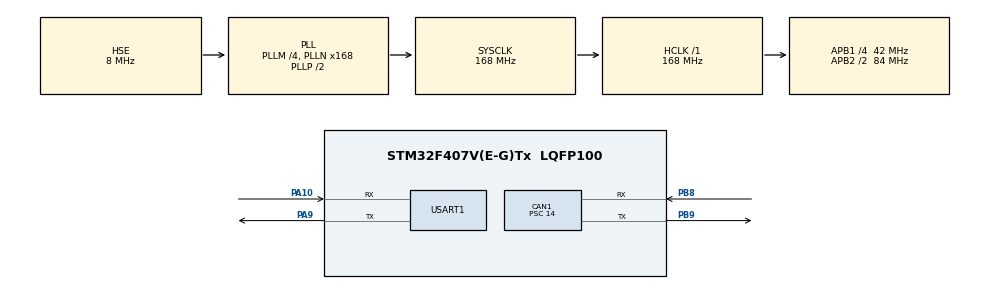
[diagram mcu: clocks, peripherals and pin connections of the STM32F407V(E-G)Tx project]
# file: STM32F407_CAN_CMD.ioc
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CAN1.ABOM=ENABLE
CAN1.BS1=CAN_BS1_4TQ
CAN1.CalculateTimeQuantum=333.33333333333337
CAN1.Prescaler=14
Dma.MEMTOMEM.0.Direction=DMA_MEMORY_TO_MEMORY
Dma.MEMTOMEM.0.FIFOMode=DMA_FIFOMODE_ENABLE
Dma.MEMTOMEM.0.FIFOThreshold=DMA_FIFO_THRESHOLD_FULL
Dma.MEMTOMEM.0.Instance=DMA2_Stream1
Dma.MEMTOMEM.0.MemBurst=DMA_MBURST_SINGLE
Dma.MEMTOMEM.0.MemDataAlignment=DMA_MDATAALIGN_BYTE
Dma.MEMTOMEM.0.MemInc=DMA_MINC_ENABLE
Dma.MEMTOMEM.0.Mode=DMA_NORMAL
Dma.MEMTOMEM.0.PeriphBurst=DMA_PBURST_SINGLE
Dma.MEMTOMEM.0.PeriphDataAlignment=DMA_PDATAALIGN_BYTE
Dma.MEMTOMEM.0.PeriphInc=DMA_PINC_ENABLE
Dma.MEMTOMEM.0.Priority=DMA_PRIORITY_LOW
Dma.Request0=MEMTOMEM
Mcu.Family=STM32F4
Mcu.Name=STM32F407V(E-G)Tx
Mcu.Package=LQFP100
NVIC.CAN1_RX0_IRQn=true\:0\:0\:false\:false\:true\:true\:true\:true
NVIC.PriorityGroup=NVIC_PRIORITYGROUP_4
NVIC.USART1_IRQn=true\:0\:0\:false\:false\:true\:true\:true\:true
PA10.Mode=Asynchronous
PA10.Signal=USART1_RX
PA9.Mode=Asynchronous
PA9.Signal=USART1_TX
PB8.Mode=Master
PB8.Signal=CAN1_RX
PB9.Mode=Master
PB9.Signal=CAN1_TX
PC14-OSC32_IN.Mode=LSE-External-Oscillator
PC14-OSC32_IN.Signal=RCC_OSC32_IN
PC15-OSC32_OUT.Mode=LSE-External-Oscillator
PC15-OSC32_OUT.Signal=RCC_OSC32_OUT
PH0-OSC_IN.Mode=HSE-External-Oscillator
PH0-OSC_IN.Signal=RCC_OSC_IN
PH1-OSC_OUT.Mode=HSE-External-Oscillator
PH1-OSC_OUT.Signal=RCC_OSC_OUT
ProjectManager.HeapSize=0x200
ProjectManager.StackSize=0x800
ProjectManager.TargetToolchain=MDK-ARM V5
RCC.48MHZClocksFreq_Value=84000000
RCC.AHBFreq_Value=168000000
RCC.APB1CLKDivider=RCC_HCLK_DIV4
RCC.APB1Freq_Value=42000000
RCC.APB1TimFreq_Value=84000000
RCC.APB2CLKDivider=RCC_HCLK_DIV2
RCC.APB2Freq_Value=84000000
RCC.APB2TimFreq_Value=168000000
RCC.CortexFreq_Value=168000000
RCC.HCLKFreq_Value=168000000
RCC.HSE_VALUE=8000000
RCC.HSI_VALUE=16000000
RCC.PLLM=4
RCC.PLLN=168
RCC.PLLSourceVirtual=RCC_PLLSOURCE_HSE
RCC.SYSCLKFreq_VALUE=168000000
RCC.SYSCLKSource=RCC_SYSCLKSOURCE_PLLCLK
RCC.VCOOutputFreq_Value=336000000
USART1.VirtualMode=VM_ASYNC
board=custom

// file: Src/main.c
/* USER CODE BEGIN Header */
/**
  ******************************************************************************
  * @file           : main.c
  * @brief          : Main program body - Velocity Control Mode
  ******************************************************************************
  */
/* USER CODE END Header */

#include "main.h"
#include "can.h"
#include "dma.h"
#include "usart.h"
#include "gpio.h"

/* USER CODE BEGIN Includes */

#include "Emm_V5.h"
#include <stdlib.h>  // 用于 atoi
#include <string.h>  // 用于 strcpy, strchr
#include <math.h>    // 用于 abs

/* USER CODE END Includes */

/* USER CODE BEGIN PV */

// ================== 串口接收与解析隔离区 ==================
#define RX_BUF_SIZE 32
char rx_buffer[RX_BUF_SIZE];
char process_buffer[RX_BUF_SIZE];
uint8_t rx_index = 0;
uint8_t rx_byte;
volatile uint8_t rx_complete = 0;

// ================== 视觉坐标与标志位 ==================
uint16_t target_x = 0;
uint16_t target_y = 0;
uint8_t  target_valid = 0;

// 【新增】：看门狗超时相关变量
uint32_t last_rx_time = 0;      // 记录最后一次收到有效坐标的时间
uint8_t  motors_stopped = 1;    // 标记电机是否已经处于停止状态（防重复下发0指令）

// ================== 闭环云台追踪控制参数 (速度环模式) ==================
#define CENTER_X 160
#define CENTER_Y 112
#define DEADZONE 15

float Kp_vel_x = 0.2f;
float Kp_vel_y = 0.1f;

#define MAX_RPM 150
#define ACCEL   15

// ================== 控制频率(节流阀) ==================
#define CONTROL_INTERVAL_MS 10
uint32_t last_control_time = 0;

/* USER CODE END PV */

void SystemClock_Config(void);

int main(void)
{
  /* MCU Configuration--------------------------------------------------------*/
  HAL_Init();
  SystemClock_Config();
  MX_GPIO_Init();
  MX_DMA_Init();
  MX_CAN1_Init();
  MX_USART1_UART_Init();

  /* USER CODE BEGIN 2 */
  USER_CAN1_Filter_Init();
  if(HAL_CAN_Start(&hcan1) != HAL_OK) { Error_Handler(); }
  if(HAL_CAN_ActivateNotification(&hcan1, CAN_IT_RX_FIFO0_MSG_PENDING) != HAL_OK) { Error_Handler(); }

  // 开启单字节串口中断接收
  HAL_UART_Receive_IT(&huart1, &rx_byte, 1);

  // 延时等待驱动器完全启动
  HAL_Delay(500);

  /* USER CODE END 2 */

  /* Infinite loop */
 /* USER CODE BEGIN WHILE */
  while (1)
  {
      // ================== 1. 安全解析坐标 & 喂狗 ==================
      if (rx_complete == 1)
      {
          rx_complete = 0;

          if (process_buffer[0] == 'X')
          {
              char *y_ptr = strchr(process_buffer, 'Y');
              if (y_ptr != NULL)
              {
                  *y_ptr = '\0';

                  target_x = atoi(&process_buffer[1]);
                  target_y = atoi(y_ptr + 1);

                  target_valid = 1;
                  last_rx_time = HAL_GetTick(); // 【新增】：收到坐标，重置看门狗时间
                  motors_stopped = 0;           // 【新增】：解除停止锁定
              }
          }
      }

      uint32_t current_time = HAL_GetTick();

      // ================== 2. 正常追踪控制 ==================
      if ((current_time - last_control_time >= CONTROL_INTERVAL_MS) && (target_valid == 1))
      {
          last_control_time = current_time;
          target_valid = 0;

          int16_t error_x = target_x - CENTER_X;
          int16_t error_y = target_y - CENTER_Y;

			// ================== X轴计算 (1号电机) 左右旋转 ==================
          uint16_t rpm_x = 0;
          uint8_t dir_x = 0;
          if (abs(error_x) > DEADZONE) {
              rpm_x = (uint16_t)(abs(error_x) * Kp_vel_x);
              if (rpm_x > MAX_RPM) rpm_x = MAX_RPM;
              // 既然之前 X 方向是对的，就保持原样
              dir_x = (error_x > 0) ? 1 : 0;
          }

          // ================== Y轴计算 (2号电机) 上下点头 ==================
          uint16_t rpm_y = 0;
          uint8_t dir_y = 0;
          if (abs(error_y) > DEADZONE) {
              rpm_y = (uint16_t)(abs(error_y) * Kp_vel_y);

              // 最高限速压在 60，防止重力带着它冲刺坠机
              if (rpm_y >60) rpm_y = 60;

              // 方向反转逻辑：如果烧进去还是只低头不抬头，就把这里的 1 : 0 换成 0 : 1
              dir_y = (error_y > 0) ? 1 : 0;
          }
// 【核心修复】：最后的参数从 1 改成 0，代表“抛弃同步，收到立刻执行”
          Emm_V5_Vel_Control(1, dir_x, rpm_x, ACCEL, 0);

          // 【物理级防堵塞】：强制延时 1 毫秒，保证 X 轴的数据发完，清空 CAN 邮箱！
          HAL_Delay(1);

          // Y 轴指令单独下发，立马执行
          Emm_V5_Vel_Control(2, dir_y, rpm_y, ACCEL, 0);
      }

      // ================== 3. 【新增】看门狗超时急刹车 ==================
      if ((current_time - last_rx_time > 200) && (motors_stopped == 0))
      {
          // 急刹车指令同样使用独立执行 + 错峰延时，确保“刹车片”绝不失效！
          Emm_V5_Vel_Control(1, 0, 0, ACCEL, 0);
          HAL_Delay(1);
          Emm_V5_Vel_Control(2, 0, 0, ACCEL, 0);
          // Emm_V5_Synchronous_motion(0); // 【必须把这行删掉或者注释掉！】

          motors_stopped = 1;
      }

    /* USER CODE END WHILE */

  }
}

void SystemClock_Config(void)
{
  RCC_OscInitTypeDef RCC_OscInitStruct = {0};
  RCC_ClkInitTypeDef RCC_ClkInitStruct = {0};

  __HAL_RCC_PWR_CLK_ENABLE();
  __HAL_PWR_VOLTAGESCALING_CONFIG(PWR_REGULATOR_VOLTAGE_SCALE1);

  RCC_OscInitStruct.OscillatorType = RCC_OSCILLATORTYPE_HSE;
  RCC_OscInitStruct.HSEState = RCC_HSE_ON;
  RCC_OscInitStruct.PLL.PLLState = RCC_PLL_ON;
  RCC_OscInitStruct.PLL.PLLSource = RCC_PLLSOURCE_HSE;
  RCC_OscInitStruct.PLL.PLLM = 4;
  RCC_OscInitStruct.PLL.PLLN = 168;
  RCC_OscInitStruct.PLL.PLLP = RCC_PLLP_DIV2;
  RCC_OscInitStruct.PLL.PLLQ = 4;
  if (HAL_RCC_OscConfig(&RCC_OscInitStruct) != HAL_OK)
  {
    Error_Handler();
  }

  RCC_ClkInitStruct.ClockType = RCC_CLOCKTYPE_HCLK|RCC_CLOCKTYPE_SYSCLK
                              |RCC_CLOCKTYPE_PCLK1|RCC_CLOCKTYPE_PCLK2;
  RCC_ClkInitStruct.SYSCLKSource = RCC_SYSCLKSOURCE_PLLCLK;
  RCC_ClkInitStruct.AHBCLKDivider = RCC_SYSCLK_DIV1;
  RCC_ClkInitStruct.APB1CLKDivider = RCC_HCLK_DIV4;
  RCC_ClkInitStruct.APB2CLKDivider = RCC_HCLK_DIV2;

  if (HAL_RCC_ClockConfig(&RCC_ClkInitStruct, FLASH_LATENCY_5) != HAL_OK)
  {
    Error_Handler();
  }
}

/* USER CODE BEGIN 4 */

void HAL_UART_RxCpltCallback(UART_HandleTypeDef *huart)
{
    if (huart->Instance == USART1)
    {
        if (rx_byte == '\n')
        {
            rx_buffer[rx_index] = '\0';
            strcpy(process_buffer, rx_buffer);
            rx_complete = 1;
            rx_index = 0;
        }
        else if (rx_byte != '\r')
        {
            if (rx_index < RX_BUF_SIZE - 1)
            {
                rx_buffer[rx_index++] = rx_byte;
            }
        }

        HAL_UART_Receive_IT(&huart1, &rx_byte, 1);
    }
}

/* USER CODE END 4 */

void Error_Handler(void)
{
  while(1);
}
